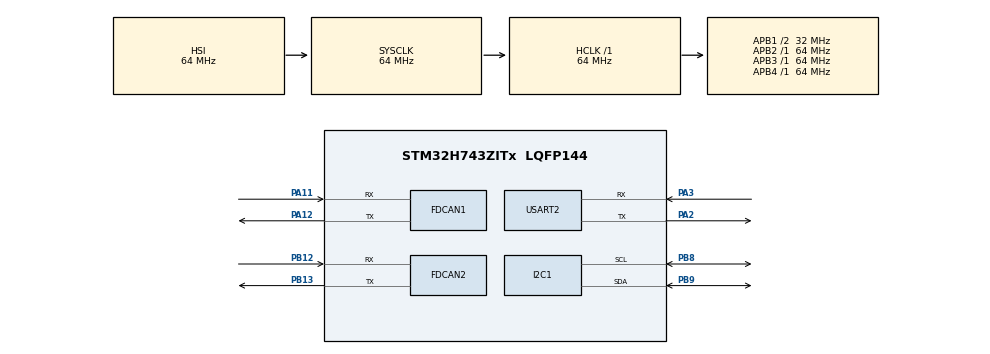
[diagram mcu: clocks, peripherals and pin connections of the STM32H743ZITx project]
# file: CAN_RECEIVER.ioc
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FDCAN1.AutoRetransmission=ENABLE
FDCAN1.CalculateBaudRateNominal=500000
FDCAN1.CalculateTimeBitNominal=2000
FDCAN1.CalculateTimeQuantumNominal=20.0
FDCAN1.DataPrescaler=25
FDCAN1.DataTimeSeg1=2
FDCAN1.ExtFiltersNbr=3
FDCAN1.FrameFormat=FDCAN_FRAME_FD_NO_BRS
FDCAN1.NominalPrescaler=1
FDCAN1.NominalSyncJumpWidth=13
FDCAN1.NominalTimeSeg1=86
FDCAN1.NominalTimeSeg2=13
FDCAN1.RxFifo0ElmtsNbr=3
FDCAN1.TxFifoQueueElmtsNbr=1
FDCAN2.AutoRetransmission=ENABLE
FDCAN2.CalculateBaudRateNominal=500000
FDCAN2.CalculateTimeBitNominal=2000
FDCAN2.CalculateTimeQuantumNominal=20.0
FDCAN2.DataPrescaler=25
FDCAN2.DataTimeSeg1=2
FDCAN2.ExtFiltersNbr=1
FDCAN2.MessageRAMOffset=1240
FDCAN2.NominalPrescaler=1
FDCAN2.NominalSyncJumpWidth=13
FDCAN2.NominalTimeSeg1=86
FDCAN2.NominalTimeSeg2=13
FDCAN2.RxFifo0ElmtsNbr=0
FDCAN2.RxFifo1ElmtsNbr=1
FDCAN2.TxFifoQueueElmtsNbr=1
I2C1.Timing=0x00707CBB
Mcu.Family=STM32H7
Mcu.Name=STM32H743ZITx
Mcu.Package=LQFP144
NVIC.PriorityGroup=NVIC_PRIORITYGROUP_4
PA11.Mode=FDCAN_Activate
PA11.Signal=FDCAN1_RX
PA12.Mode=FDCAN_Activate
PA12.Signal=FDCAN1_TX
PA2.Mode=Asynchronous
PA2.Signal=USART2_TX
PA3.Mode=Asynchronous
PA3.Signal=USART2_RX
PB12.Mode=FDCAN_Activate
PB12.Signal=FDCAN2_RX
PB13.Mode=FDCAN_Activate
PB13.Signal=FDCAN2_TX
PB8.Mode=I2C
PB8.Signal=I2C1_SCL
PB9.Mode=I2C
PB9.Signal=I2C1_SDA
ProjectManager.HeapSize=0x200
ProjectManager.StackSize=0x400
ProjectManager.TargetToolchain=STM32CubeIDE
RCC.ADCFreq_Value=129000000
RCC.APB1Freq_Value=32000000
RCC.APB2Freq_Value=64000000
RCC.APB3Freq_Value=64000000
RCC.APB4Freq_Value=64000000
RCC.CortexFreq_Value=64000000
RCC.D2PPRE1=RCC_APB1_DIV2
RCC.DIVM1=4
RCC.DIVN1=9
RCC.DIVQ1=3
RCC.HCLKFreq_Value=64000000
RCC.PLLFRACN=3072
RCC.SYSCLKFreq_VALUE=64000000
RCC.USBFreq_Value=50000000
USART2.VirtualMode-Asynchronous=VM_ASYNC
board=custom

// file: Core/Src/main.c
/* USER CODE BEGIN Header */
/**
 ******************************************************************************
 * @file           : main.c
 * @brief          : Main program body
 ******************************************************************************
 * @attention
 *
 * Copyright (c) 2023 STMicroelectronics.
 * All rights reserved.
 *
 * This software is licensed under terms that can be found in the LICENSE file
 * in the root directory of this software component.
 * If no LICENSE file comes with this software, it is provided AS-IS.
 *
 ******************************************************************************
 */
/* USER CODE END Header */
#include "main.h"
#include "string.h"

FDCAN_HandleTypeDef hfdcan1;
FDCAN_HandleTypeDef hfdcan2;

I2C_HandleTypeDef hi2c1;

UART_HandleTypeDef huart2;

void SystemClock_Config(void);
static void MX_GPIO_Init(void);
static void MX_FDCAN1_Init(void);
static void MX_FDCAN2_Init(void);
static void MX_I2C1_Init(void);
static void MX_USART2_UART_Init(void);

/* USER CODE BEGIN 0 */
FDCAN_TxHeaderTypeDef TxHeader1;
FDCAN_RxHeaderTypeDef RxHeader1;
uint8_t TxData1[8];
uint8_t RxData1[8];

FDCAN_TxHeaderTypeDef TxHeader2;
FDCAN_RxHeaderTypeDef RxHeader2;
uint8_t TxData2[8];
uint8_t RxData2[8];

typedef struct Telemetry {
    int rpm;
    int tps;
    int fuelOpenTime;
    int ignistionAngle;
    int lam;
    int airTemp;
    int coloingTemp;

} Telemetry;

Telemetry telemetry;
uint32_t received_ID;

void update_data(uint8_t *data) {
    if (received_ID == 0x0CFF048) {
        telemetry.rpm = data[0] + data[1] * 256;
        telemetry.tps = data[2] + data[3] * 256;
        telemetry.fuelOpenTime = data[4] + data[5] * 256;
        telemetry.ignistionAngle = data[6] + data[7] * 256;
    }
    if (received_ID == 0x0CFF148) {
        telemetry.lam = data[4] + data[5] * 256;
    }
    if (received_ID == 0x0CFF548) {
        telemetry.airTemp = data[2] + data[3] * 256;
        telemetry.coloingTemp = data[4] + data[5] * 256;
    }
}

// called when msg is recived and went through filter
void HAL_FDCAN_RxFio0Callback(FDCAN_HandleTypeDef *hfdcan1,
                              uint32_t RxFiofo0ITs) {

    // Check if there's a new message in RX FIFO0
    while ((RxFiofo0ITs & FDCAN_IT_RX_FIFO0_NEW_MESSAGE) != RESET) {

        // Get the message from RX FIFO0
        if (HAL_FDCAN_GetRxMessage(hfdcan1, FDCAN_RX_FIFO0, &RxHeader1,
                                   RxData1) != HAL_OK) {
            Error_Handler();
        }

        // Process the message
        received_ID = RxHeader1.Identifier;
        update_data(RxData1);

        // Check again for more messages in RX FIFO0
        RxFiofo0ITs = HAL_FDCAN_GetRxFifoFillLevel(hfdcan1, FDCAN_RX_FIFO0);
    }

    // Reactivate notifications for RX FIFO0 to recive msg again
    if (HAL_FDCAN_ActivateNotification(
            hfdcan1, FDCAN_RX_FIFO0, FDCAN_IT_RX_FIFO0_NEW_MESSAGE) != HAL_OK) {
        Error_Handler();
    }
}

// for function as above but for hfdcan2
void HAL_FDCAN_RxFio1Callback(FDCAN_HandleTypeDef *hfdcan2,
                              uint32_t RXFiofo1ITs) {
    while ((RXFiofo1ITs & FDCAN_IT_RX_FIFO1_NEW_MESSAGE) != RESET) {

        if (HAL_FDCAN_GetRxMessage(hfdcan2, FDCAN_RX_FIFO1, &RxHeader2,
                                   RxData2) != HAL_OK) {
            Error_Handler();
        }

        received_ID = RxHeader2.Identifier;
        update_data(RxData2);

        RXFiofo1ITs = HAL_FDCAN_GetRxFifoFillLevel(hfdcan2, FDCAN_RX_FIFO1);
    }

    if (HAL_FDCAN_ActivateNotification(
            hfdcan2, FDCAN_RX_FIFO0, FDCAN_IT_RX_FIFO0_NEW_MESSAGE) != HAL_OK) {
        Error_Handler();
    }
}

// temp fucntion to replicate the ecu sim
void packet1(double rpm, double tps, double fuelOpenTime,
             double ignistionAngle) {

    TxData2[0] = (rpm / 2);
    TxData2[1] = (rpm / 2) / 256;
    TxData2[2] = tps / 2;
    TxData2[3] = (tps / 2) / 256;
    TxData2[4] = fuelOpenTime / 2;
    TxData2[5] = (fuelOpenTime / 2) / 256;
    TxData2[6] = ignistionAngle / 2;
    TxData2[7] = (ignistionAngle / 2) / 256;
}

/* USER CODE END 0 */

int main(void) {

    /* MCU
     * Configuration--------------------------------------------------------*/

    /* Reset of all peripherals, Initializes the Flash interface and the
     * Systick. */
    HAL_Init();

    /* Configure the system clock */
    SystemClock_Config();

    /* Initialize all configured peripherals */
    MX_GPIO_Init();
    MX_FDCAN1_Init();
    MX_FDCAN2_Init();
    MX_I2C1_Init();
    MX_USART2_UART_Init();
    /* USER CODE BEGIN 2 */
    // initalizes can
    if (HAL_FDCAN_Start(&hfdcan1) != HAL_OK) {
        Error_Handler();
    }
    // initalizes can
    if (HAL_FDCAN_Start(&hfdcan2) != HAL_OK) {
        Error_Handler();
    }
    // ready to recive msgs
    if (HAL_FDCAN_ActivateNotification(&hfdcan1, FDCAN_IT_RX_FIFO0_NEW_MESSAGE,
                                       0) != HAL_OK) {
        Error_Handler();
    }
    // ready to recive msgs
    if (HAL_FDCAN_ActivateNotification(&hfdcan2, FDCAN_IT_RX_FIFO1_NEW_MESSAGE,
                                       0) != HAL_OK) {
        Error_Handler();
    }

    TxHeader1.Identifier = 0x0cff104;
    TxHeader1.IdType = FDCAN_EXTENDED_ID;
    TxHeader1.TxFrameType = FDCAN_DATA_FRAME;
    TxHeader1.DataLength = FDCAN_DATA_BYTES_8;
    TxHeader1.ErrorStateIndicator = FDCAN_ESI_ACTIVE;
    TxHeader1.BitRateSwitch = FDCAN_BRS_OFF;
    TxHeader1.FDFormat = FDCAN_FD_CAN;
    TxHeader1.TxEventFifoControl = FDCAN_NO_TX_EVENTS;
    TxHeader1.MessageMarker = 0;

    TxHeader2.Identifier = 0x0CFF048;
    TxHeader2.IdType = FDCAN_EXTENDED_ID;
    TxHeader2.TxFrameType = FDCAN_DATA_FRAME;
    TxHeader2.DataLength = FDCAN_DATA_BYTES_8;
    TxHeader2.ErrorStateIndicator = FDCAN_ESI_ACTIVE;
    TxHeader2.BitRateSwitch = FDCAN_BRS_OFF;
    TxHeader2.FDFormat = FDCAN_FD_CAN;
    TxHeader2.TxEventFifoControl = FDCAN_NO_TX_EVENTS;
    TxHeader2.MessageMarker = 0;
    /* USER CODE END 2 */

    /* Infinite loop */
    while (1) {
        /* USER CODE BEGIN 3 */

        // test function replicating the ecu simulatior
        packet1(100.0, 28.0, 25.0, 15.0);

        // sends data from test fdcan
        if (HAL_FDCAN_AddMessageToTxFifoQ(&hfdcan2, &TxHeader2, TxData2) !=
            HAL_OK) {
            Error_Handler();
        }
        HAL_Delay(1000);

        // test the RXdata1 (data buffer that will recive data from main can)
        //        HAL_UART_Transmit(&huart2, RxData1, 8,
        //                          HAL_MAX_DELAY);

        // test the telemptry struct
        HAL_UART_Transmit(&huart2, (uint8_t *)telemetry.rpm,
                          sizeof((uint8_t *)telemetry.rpm), HAL_MAX_DELAY);
        HAL_UART_Transmit(&huart2, (uint8_t *)telemetry.tps,
                          sizeof((uint8_t *)telemetry.tps), HAL_MAX_DELAY);
        HAL_UART_Transmit(&huart2, (uint8_t *)telemetry.fuelOpenTime,
                          sizeof((uint8_t *)telemetry.fuelOpenTime),
                          HAL_MAX_DELAY);
        HAL_UART_Transmit(&huart2, (uint8_t *)telemetry.ignistionAngle,
                          sizeof((uint8_t *)telemetry.ignistionAngle),
                          HAL_MAX_DELAY);
    }
    /* USER CODE END 3 */
}

void SystemClock_Config(void) {
    RCC_OscInitTypeDef RCC_OscInitStruct = {0};
    RCC_ClkInitTypeDef RCC_ClkInitStruct = {0};

    /** Supply configuration update enable
     */
    HAL_PWREx_ConfigSupply(PWR_LDO_SUPPLY);

    /** Configure the main internal regulator output voltage
     */
    __HAL_PWR_VOLTAGESCALING_CONFIG(PWR_REGULATOR_VOLTAGE_SCALE3);

    while (!__HAL_PWR_GET_FLAG(PWR_FLAG_VOSRDY)) {
    }

    /** Initializes the RCC Oscillators according to the specified parameters
     * in the RCC_OscInitTypeDef structure.
     */
    RCC_OscInitStruct.OscillatorType = RCC_OSCILLATORTYPE_HSI;
    RCC_OscInitStruct.HSIState = RCC_HSI_DIV1;
    RCC_OscInitStruct.HSICalibrationValue = RCC_HSICALIBRATION_DEFAULT;
    RCC_OscInitStruct.PLL.PLLState = RCC_PLL_ON;
    RCC_OscInitStruct.PLL.PLLSource = RCC_PLLSOURCE_HSI;
    RCC_OscInitStruct.PLL.PLLM = 4;
    RCC_OscInitStruct.PLL.PLLN = 9;
    RCC_OscInitStruct.PLL.PLLP = 2;
    RCC_OscInitStruct.PLL.PLLQ = 3;
    RCC_OscInitStruct.PLL.PLLR = 2;
    RCC_OscInitStruct.PLL.PLLRGE = RCC_PLL1VCIRANGE_3;
    RCC_OscInitStruct.PLL.PLLVCOSEL = RCC_PLL1VCOMEDIUM;
    RCC_OscInitStruct.PLL.PLLFRACN = 3072;
    if (HAL_RCC_OscConfig(&RCC_OscInitStruct) != HAL_OK) {
        Error_Handler();
    }

    /** Initializes the CPU, AHB and APB buses clocks
     */
    RCC_ClkInitStruct.ClockType = RCC_CLOCKTYPE_HCLK | RCC_CLOCKTYPE_SYSCLK |
                                  RCC_CLOCKTYPE_PCLK1 | RCC_CLOCKTYPE_PCLK2 |
                                  RCC_CLOCKTYPE_D3PCLK1 | RCC_CLOCKTYPE_D1PCLK1;
    RCC_ClkInitStruct.SYSCLKSource = RCC_SYSCLKSOURCE_HSI;
    RCC_ClkInitStruct.SYSCLKDivider = RCC_SYSCLK_DIV1;
    RCC_ClkInitStruct.AHBCLKDivider = RCC_HCLK_DIV1;
    RCC_ClkInitStruct.APB3CLKDivider = RCC_APB3_DIV1;
    RCC_ClkInitStruct.APB1CLKDivider = RCC_APB1_DIV2;
    RCC_ClkInitStruct.APB2CLKDivider = RCC_APB2_DIV1;
    RCC_ClkInitStruct.APB4CLKDivider = RCC_APB4_DIV1;

    if (HAL_RCC_ClockConfig(&RCC_ClkInitStruct, FLASH_LATENCY_1) != HAL_OK) {
        Error_Handler();
    }
}

static void MX_FDCAN1_Init(void) {

    hfdcan1.Instance = FDCAN1;
    hfdcan1.Init.FrameFormat = FDCAN_FRAME_FD_NO_BRS;
    hfdcan1.Init.Mode = FDCAN_MODE_NORMAL;
    hfdcan1.Init.AutoRetransmission = ENABLE;
    hfdcan1.Init.TransmitPause = DISABLE;
    hfdcan1.Init.ProtocolException = DISABLE;
    hfdcan1.Init.NominalPrescaler = 1;
    hfdcan1.Init.NominalSyncJumpWidth = 13;
    hfdcan1.Init.NominalTimeSeg1 = 86;
    hfdcan1.Init.NominalTimeSeg2 = 13;
    hfdcan1.Init.DataPrescaler = 25;
    hfdcan1.Init.DataSyncJumpWidth = 1;
    hfdcan1.Init.DataTimeSeg1 = 2;
    hfdcan1.Init.DataTimeSeg2 = 1;
    hfdcan1.Init.MessageRAMOffset = 0;
    hfdcan1.Init.StdFiltersNbr = 0;
    hfdcan1.Init.ExtFiltersNbr = 3;
    hfdcan1.Init.RxFifo0ElmtsNbr = 3;
    hfdcan1.Init.RxFifo0ElmtSize = FDCAN_DATA_BYTES_8;
    hfdcan1.Init.RxFifo1ElmtsNbr = 0;
    hfdcan1.Init.RxFifo1ElmtSize = FDCAN_DATA_BYTES_8;
    hfdcan1.Init.RxBuffersNbr = 0;
    hfdcan1.Init.RxBufferSize = FDCAN_DATA_BYTES_8;
    hfdcan1.Init.TxEventsNbr = 0;
    hfdcan1.Init.TxBuffersNbr = 0;
    hfdcan1.Init.TxFifoQueueElmtsNbr = 1;
    hfdcan1.Init.TxFifoQueueMode = FDCAN_TX_FIFO_OPERATION;
    hfdcan1.Init.TxElmtSize = FDCAN_DATA_BYTES_8;
    if (HAL_FDCAN_Init(&hfdcan1) != HAL_OK) {
        Error_Handler();
    }
    /* USER CODE BEGIN FDCAN1_Init 2 */
// ids that will be sent over can
#define ID1 0x0CFF048;
#define ID2 0x0CFF148;
#define ID3 0x0CFF548;

    FDCAN_FilterTypeDef sFilterConfig;

    sFilterConfig.IdType = FDCAN_EXTENDED_ID;
    sFilterConfig.FilterIndex = 0;
    sFilterConfig.FilterType = FDCAN_FILTER_MASK;
    sFilterConfig.FilterConfig = FDCAN_FILTER_TO_RXFIFO0;
    sFilterConfig.FilterID1 = ID1;
    sFilterConfig.FilterID2 = 0x1FFFFFFF;

    if (HAL_FDCAN_ConfigFilter(&hfdcan1, &sFilterConfig) != HAL_OK) {
        Error_Handler();
    }

    // Filter for ID2
    sFilterConfig.FilterID1 = ID2;
    if (HAL_FDCAN_ConfigFilter(&hfdcan1, &sFilterConfig) != HAL_OK) {
        Error_Handler();
    }

    // Filter for ID3
    sFilterConfig.FilterID1 = ID3;
    if (HAL_FDCAN_ConfigFilter(&hfdcan1, &sFilterConfig) != HAL_OK) {
        Error_Handler();
    }
    /* USER CODE END FDCAN1_Init 2 */
}

static void MX_FDCAN2_Init(void) {

    hfdcan2.Instance = FDCAN2;
    hfdcan2.Init.FrameFormat = FDCAN_FRAME_CLASSIC;
    hfdcan2.Init.Mode = FDCAN_MODE_NORMAL;
    hfdcan2.Init.AutoRetransmission = ENABLE;
    hfdcan2.Init.TransmitPause = DISABLE;
    hfdcan2.Init.ProtocolException = DISABLE;
    hfdcan2.Init.NominalPrescaler = 1;
    hfdcan2.Init.NominalSyncJumpWidth = 13;
    hfdcan2.Init.NominalTimeSeg1 = 86;
    hfdcan2.Init.NominalTimeSeg2 = 13;
    hfdcan2.Init.DataPrescaler = 25;
    hfdcan2.Init.DataSyncJumpWidth = 1;
    hfdcan2.Init.DataTimeSeg1 = 2;
    hfdcan2.Init.DataTimeSeg2 = 1;
    hfdcan2.Init.MessageRAMOffset = 1240;
    hfdcan2.Init.StdFiltersNbr = 0;
    hfdcan2.Init.ExtFiltersNbr = 1;
    hfdcan2.Init.RxFifo0ElmtsNbr = 0;
    hfdcan2.Init.RxFifo0ElmtSize = FDCAN_DATA_BYTES_8;
    hfdcan2.Init.RxFifo1ElmtsNbr = 1;
    hfdcan2.Init.RxFifo1ElmtSize = FDCAN_DATA_BYTES_8;
    hfdcan2.Init.RxBuffersNbr = 0;
    hfdcan2.Init.RxBufferSize = FDCAN_DATA_BYTES_8;
    hfdcan2.Init.TxEventsNbr = 0;
    hfdcan2.Init.TxBuffersNbr = 0;
    hfdcan2.Init.TxFifoQueueElmtsNbr = 1;
    hfdcan2.Init.TxFifoQueueMode = FDCAN_TX_FIFO_OPERATION;
    hfdcan2.Init.TxElmtSize = FDCAN_DATA_BYTES_8;
    if (HAL_FDCAN_Init(&hfdcan2) != HAL_OK) {
        Error_Handler();
    }
    /* USER CODE BEGIN FDCAN2_Init 2 */
    FDCAN_FilterTypeDef sFilterConfig;

    sFilterConfig.IdType = FDCAN_EXTENDED_ID;
    sFilterConfig.FilterIndex = 0;
    sFilterConfig.FilterType = FDCAN_FILTER_MASK;
    sFilterConfig.FilterConfig = FDCAN_FILTER_TO_RXFIFO1;
    sFilterConfig.FilterID1 = 0x1FFFFFFF;
    sFilterConfig.FilterID2 = 0x1FFFFFFF;

    if (HAL_FDCAN_ConfigFilter(&hfdcan1, &sFilterConfig) != HAL_OK) {
        Error_Handler();
    }
    /* USER CODE END FDCAN2_Init 2 */
}

static void MX_I2C1_Init(void) {

    hi2c1.Instance = I2C1;
    hi2c1.Init.Timing = 0x00707CBB;
    hi2c1.Init.OwnAddress1 = 0;
    hi2c1.Init.AddressingMode = I2C_ADDRESSINGMODE_7BIT;
    hi2c1.Init.DualAddressMode = I2C_DUALADDRESS_DISABLE;
    hi2c1.Init.OwnAddress2 = 0;
    hi2c1.Init.OwnAddress2Masks = I2C_OA2_NOMASK;
    hi2c1.Init.GeneralCallMode = I2C_GENERALCALL_DISABLE;
    hi2c1.Init.NoStretchMode = I2C_NOSTRETCH_DISABLE;
    if (HAL_I2C_Init(&hi2c1) != HAL_OK) {
        Error_Handler();
    }

    /** Configure Analogue filter
     */
    if (HAL_I2CEx_ConfigAnalogFilter(&hi2c1, I2C_ANALOGFILTER_ENABLE) !=
        HAL_OK) {
        Error_Handler();
    }

    /** Configure Digital filter
     */
    if (HAL_I2CEx_ConfigDigitalFilter(&hi2c1, 0) != HAL_OK) {
        Error_Handler();
    }
}

static void MX_USART2_UART_Init(void) {

    huart2.Instance = USART2;
    huart2.Init.BaudRate = 115200;
    huart2.Init.WordLength = UART_WORDLENGTH_8B;
    huart2.Init.StopBits = UART_STOPBITS_1;
    huart2.Init.Parity = UART_PARITY_NONE;
    huart2.Init.Mode = UART_MODE_TX_RX;
    huart2.Init.HwFlowCtl = UART_HWCONTROL_NONE;
    huart2.Init.OverSampling = UART_OVERSAMPLING_16;
    huart2.Init.OneBitSampling = UART_ONE_BIT_SAMPLE_DISABLE;
    huart2.Init.ClockPrescaler = UART_PRESCALER_DIV1;
    huart2.AdvancedInit.AdvFeatureInit = UART_ADVFEATURE_NO_INIT;
    if (HAL_UART_Init(&huart2) != HAL_OK) {
        Error_Handler();
    }
    if (HAL_UARTEx_SetTxFifoThreshold(&huart2, UART_TXFIFO_THRESHOLD_1_8) !=
        HAL_OK) {
        Error_Handler();
    }
    if (HAL_UARTEx_SetRxFifoThreshold(&huart2, UART_RXFIFO_THRESHOLD_1_8) !=
        HAL_OK) {
        Error_Handler();
    }
    if (HAL_UARTEx_DisableFifoMode(&huart2) != HAL_OK) {
        Error_Handler();
    }
}

static void MX_GPIO_Init(void) {

    /* GPIO Ports Clock Enable */
    __HAL_RCC_GPIOA_CLK_ENABLE();
    __HAL_RCC_GPIOB_CLK_ENABLE();

}

void Error_Handler(void) {
    /* USER CODE BEGIN Error_Handler_Debug */
    /* User can add his own implementation to report the HAL error return state
     */
    __disable_irq();
    while (1) {
    }
    /* USER CODE END Error_Handler_Debug */
}

#ifdef USE_FULL_ASSERT
/**
 * @brief  Reports the name of the source file and the source line number
 *         where the assert_param error has occurred.
 * @param  file: pointer to the source file name
 * @param  line: assert_param error line source number
 * @retval None
 */
void assert_failed(uint8_t *file, uint32_t line) {
    /* USER CODE BEGIN 6 */
    /* User can add his own implementation to report the file name and line
       number, ex: printf("Wrong parameters value: file %s on line %d\r\n",
       file, line) */
    /* USER CODE END 6 */
}
#endif /* USE_FULL_ASSERT */
